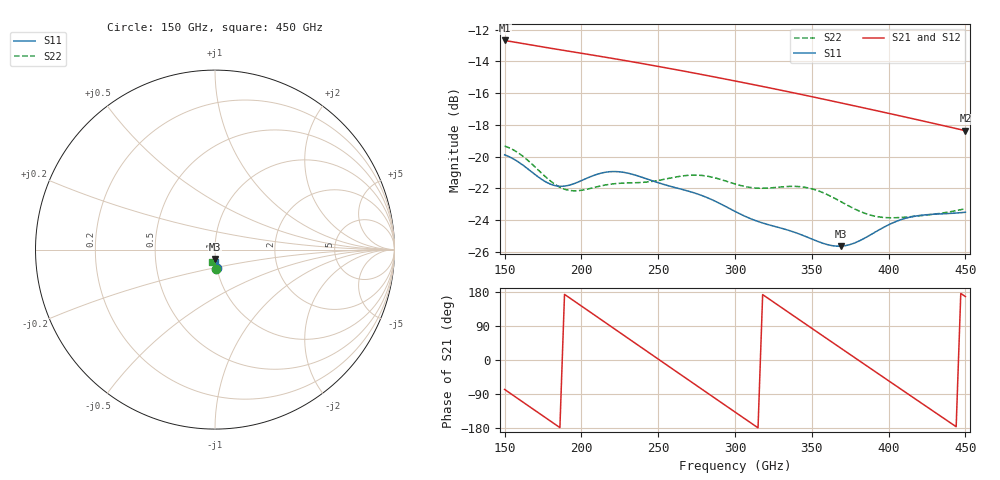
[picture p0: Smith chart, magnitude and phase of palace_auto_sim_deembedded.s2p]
! Created with skrf 1.11.0 (http://scikit-rf.org).
# GHz S DB R 50.0
!freq dBS11 angS11 dBS21 angS21 dBS12 angS12 dBS22 angS22
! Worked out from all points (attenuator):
!   101 points, 150 GHz to 450 GHz, reference 50 ohm
!   highest |S21| = -12.68 dB at 150 GHz (marker M1); lowest = -18.4 dB at 450 GHz (marker M2)
!   lowest |S11| = -25.7 dB at 369 GHz (marker M3), VSWR 1.11, Z = 49.5 - j5.18 ohm
!   |S11| at or under -10 dB: start of sweep to end of sweep
!   |S22| runs from -23.9 to -19.3 dB; largest |S21 - S12| = 1.8e-13
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150  -19.89 -83.6  -12.68 -77.7  -12.68 -77.7  -19.34 -85.8
162  -20.55 -86.6  -12.87 -111.3  -12.87 -111.3  -19.99 -90.4
177  -21.61 -85.8  -13.12 -153.2  -13.12 -153.2  -21.31 -92.1
189  -21.87 -81.9  -13.31 173.2  -13.31 173.2  -22.06 -88.7
201  -21.48 -80.3  -13.50 139.6  -13.50 139.6  -22.11 -85.0
213  -21.04 -82.8  -13.69 106.0  -13.69 106.0  -21.84 -84.2
225  -20.96 -87.3  -13.89 72.4  -13.89 72.4  -21.69 -85.3
240  -21.32 -92.3  -14.14 30.4  -14.14 30.4  -21.63 -86.7
252  -21.71 -94.8  -14.35 -3.2  -14.35 -3.2  -21.47 -87.7
264  -22.03 -96.9  -14.56 -36.7  -14.56 -36.7  -21.25 -90.1
276  -22.37 -99.2  -14.78 -70.3  -14.78 -70.3  -21.17 -93.7
288  -22.86 -101.4  -15.00 -103.8  -15.00 -103.8  -21.37 -97.4
300  -23.46 -102.4  -15.23 -137.3  -15.23 -137.3  -21.73 -99.6
321  -24.28 -101.2  -15.64 164.2  -15.64 164.2  -21.99 -100.5
336  -24.69 -100.3  -15.94 122.5  -15.94 122.5  -21.88 -103.0
351  -25.24 -98.6  -16.24 80.9  -16.24 80.9  -22.06 -107.3
369  -25.65 -92.4  -16.62 30.9  -16.62 30.9  -22.85 -110.9
384  -25.17 -86.9  -16.93 -10.6  -16.93 -10.6  -23.56 -109.9
402  -24.21 -86.0  -17.32 -60.3  -17.32 -60.3  -23.86 -106.4
423  -23.68 -89.1  -17.77 -118.3  -17.77 -118.3  -23.71 -103.8
438  -23.60 -90.6  -18.10 -159.6  -18.10 -159.6  -23.52 -102.7
450  -23.51 -91.1  -18.37 167.4  -18.37 167.4  -23.29 -102.2
